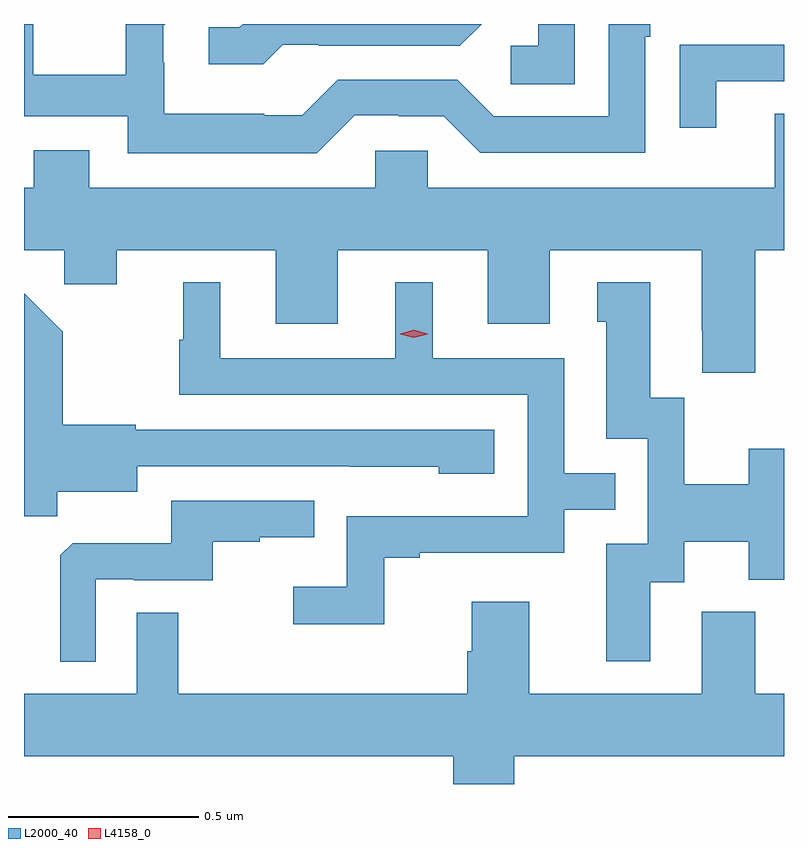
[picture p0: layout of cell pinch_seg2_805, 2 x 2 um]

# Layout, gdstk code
import gdstk
lib = gdstk.Library(unit=1e-6, precision=1e-09)
def P(c, l, *ps):  # polygons
    for p in ps: c.add(gdstk.Polygon(p, *l))
L2000_40 = (2000, 40)
L4158_0 = (4158, 0)

pinch_seg2_805 = lib.new_cell('pinch_seg2_805')
P(pinch_seg2_805, L2000_40, [(732.627,647.991),(732.743,647.991),(732.743,647.988),(732.861,647.988),(732.957,647.892),(733.392,647.892),(733.392,648.197),(733.405,648.197),(733.405,648.231),(733.296,648.231),(733.296,647.988),(732.993,647.988),(732.897,648.084),(732.582,648.084),(732.489,647.991),(732.389,647.991),(732.389,647.995),(732.126,647.995),(732.126,648.129),(732.124,648.129),(732.124,648.226),(732.129,648.231),(732.025,648.231),(732.025,648.097),(731.781,648.097),(731.781,648.231),(731.757,648.231),(731.757,647.988),(732.03,647.988),(732.03,647.891),(732.527,647.891)],
  [(733.206,648.231),(733.11,648.231),(733.11,648.174),(733.038,648.174),(733.038,648.073),(733.206,648.073)],
  [(732.438,648.177),(732.532,648.177),(732.532,648.174),(732.904,648.174),(732.961,648.231),(732.333,648.231),(732.324,648.222),(732.243,648.222),(732.243,648.125),(732.386,648.125)],
  [(733.579,648.081),(733.757,648.081),(733.757,648.177),(733.585,648.177),(733.585,648.176),(733.483,648.176),(733.483,647.958),(733.579,647.958)],
  [(733.681,647.636),(733.757,647.636),(733.757,647.995),(733.733,647.995),(733.733,647.8),(732.819,647.8),(732.819,647.898),(732.681,647.898),(732.681,647.8),(731.929,647.8),(731.929,647.899),(731.782,647.899),(731.782,647.8),(731.757,647.8),(731.757,647.636),(731.863,647.636),(731.863,647.546),(732.001,647.546),(732.001,647.636),(732.419,647.636),(732.419,647.442),(732.583,647.442),(732.583,647.636),(732.977,647.636),(732.977,647.442),(733.141,647.442),(733.141,647.636),(733.541,647.636),(733.541,647.425),(733.542,647.425),(733.542,647.313),(733.681,647.313)],
  [(732.705,646.827),(732.799,646.827),(732.799,646.839),(733.179,646.839),(733.179,646.953),(733.313,646.953),(733.313,647.049),(733.179,647.049),(733.179,647.352),(732.832,647.352),(732.832,647.551),(732.734,647.551),(732.734,647.352),(732.274,647.352),(732.274,647.551),(732.176,647.551),(732.176,647.4),(732.165,647.4),(732.165,647.256),(733.083,647.256),(733.083,646.935),(732.606,646.935),(732.606,646.75),(732.465,646.75),(732.465,646.652),(732.705,646.652)],
  [(733.405,646.762),(733.495,646.762),(733.495,646.868),(733.664,646.868),(733.664,646.769),(733.757,646.769),(733.757,647.113),(733.664,647.113),(733.664,647.02),(733.494,647.02),(733.494,647.247),(733.405,647.247),(733.405,647.551),(733.265,647.551),(733.265,647.448),(733.289,647.448),(733.289,647.139),(733.398,647.139),(733.398,646.863),(733.289,646.863),(733.289,646.554),(733.405,646.554)],
  [(731.844,647),(732.055,647),(732.055,647.067),(732.613,647.067),(732.613,647.066),(732.849,647.066),(732.849,647.048),(732.994,647.048),(732.994,647.163),(732.051,647.163),(732.051,647.176),(731.859,647.176),(731.859,647.421),(731.759,647.521),(731.757,647.521),(731.757,646.936),(731.844,646.936)],
  [(731.946,646.77),(732.046,646.77),(732.046,646.767),(732.254,646.767),(732.254,646.869),(732.377,646.869),(732.377,646.88),(732.521,646.88),(732.521,646.977),(732.144,646.977),(732.144,646.865),(731.885,646.865),(731.853,646.833),(731.853,646.553),(731.946,646.553)],
  [(733.047,646.304),(733.757,646.304),(733.757,646.468),(733.681,646.468),(733.681,646.684),(733.541,646.684),(733.541,646.468),(733.087,646.468),(733.087,646.711),(732.935,646.711),(732.935,646.581),(732.923,646.581),(732.923,646.468),(732.163,646.468),(732.163,646.682),(732.054,646.682),(732.054,646.468),(731.757,646.468),(731.757,646.304),(732.887,646.304),(732.887,646.231),(733.047,646.231)])
P(pinch_seg2_805, L4158_0, [(732.783,647.406),(732.747,647.415),(732.747,647.416),(732.747,647.416),(732.783,647.426),(732.819,647.416),(732.819,647.416),(732.819,647.415)])

lib.write_gds('pinch_seg2_805.gds')
